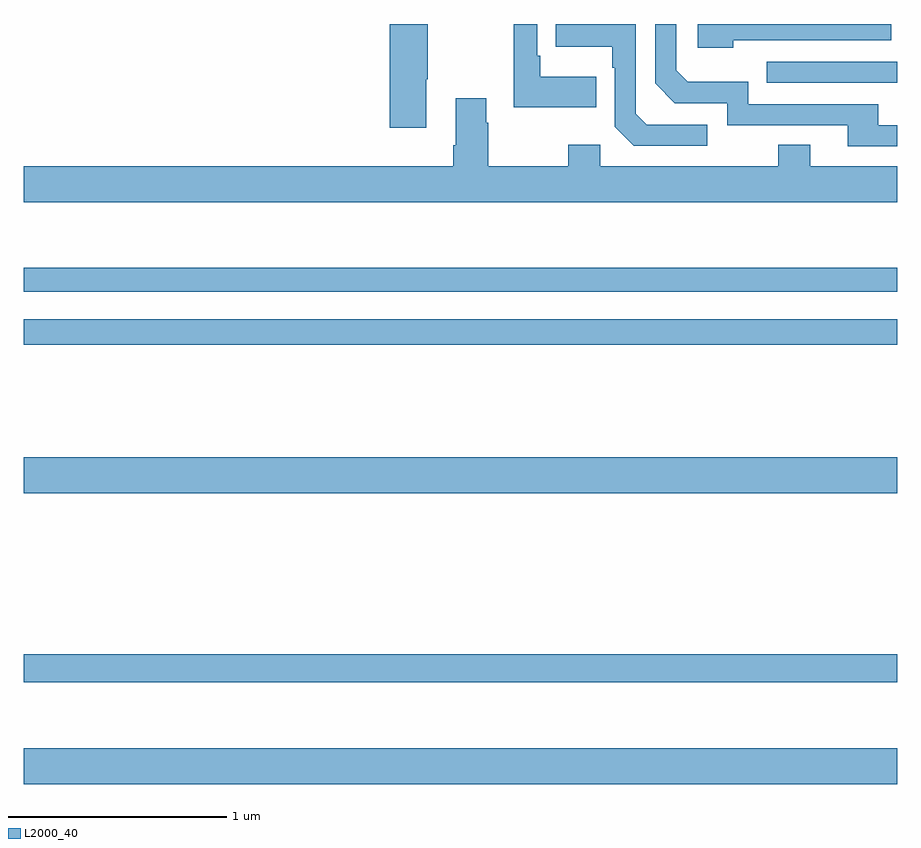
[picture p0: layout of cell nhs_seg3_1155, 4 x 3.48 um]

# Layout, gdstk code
import gdstk
lib = gdstk.Library(unit=1e-6, precision=1e-09)
def R(c, l, rs):  # rectangles x0, y0, x1, y1
    for r in rs: c.add(gdstk.rectangle(r[:2], r[2:], *l))
def P(c, l, *ps):  # polygons
    for p in ps: c.add(gdstk.Polygon(p, *l))
L2000_40 = (2000, 40)

nhs_seg3_1155 = lib.new_cell('nhs_seg3_1155')
R(nhs_seg3_1155, L2000_40, [(171,696.92,175,697.084), (171,697.386,175,697.514), (171,698.252,175,698.416), (171,698.932,175,699.048), (171,699.174,175,699.283), (174.403,700.131,175,700.227)])
P(nhs_seg3_1155, L2000_40, [(174.248,700.326),(174.972,700.326),(174.972,700.4),(174.087,700.4),(174.087,700.292),(174.248,700.292)],
  [(173.621,700.159),(173.365,700.159),(173.365,700.255),(173.352,700.255),(173.352,700.4),(173.244,700.4),(173.244,700.019),(173.621,700.019)],
  [(174.13,699.939),(173.853,699.939),(173.802,699.99),(173.802,700.4),(173.437,700.4),(173.437,700.295),(173.694,700.295),(173.694,700.199),(173.706,700.199),(173.706,699.93),(173.793,699.843),(174.13,699.843)],
  [(175,699.936),(174.913,699.936),(174.913,700.032),(174.318,700.032),(174.318,700.135),(174.041,700.135),(173.988,700.188),(173.988,700.4),(173.892,700.4),(173.892,700.128),(173.982,700.038),(174.222,700.038),(174.222,699.936),(174.773,699.936),(174.773,699.84),(175,699.84)],
  [(172.843,700.147),(172.851,700.147),(172.851,700.4),(172.676,700.4),(172.676,699.924),(172.843,699.924)],
  [(175,699.748),(174.601,699.748),(174.601,699.847),(174.454,699.847),(174.454,699.748),(173.64,699.748),(173.64,699.847),(173.494,699.847),(173.494,699.748),(173.127,699.748),(173.127,699.947),(173.119,699.947),(173.119,700.06),(172.979,700.06),(172.979,699.844),(172.967,699.844),(172.967,699.748),(171,699.748),(171,699.584),(175,699.584)])

lib.write_gds('nhs_seg3_1155.gds')
